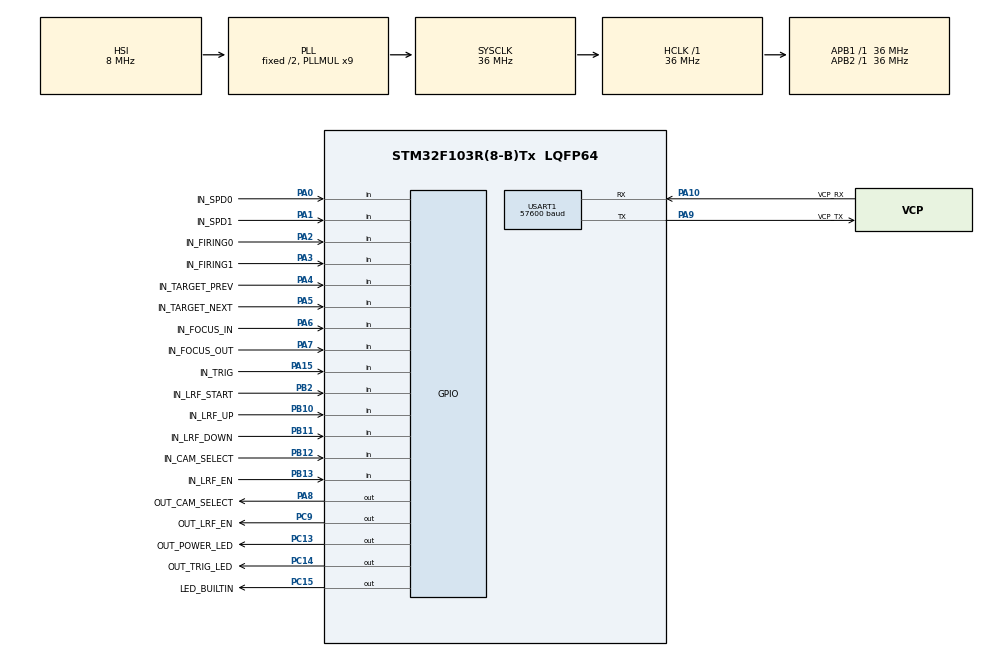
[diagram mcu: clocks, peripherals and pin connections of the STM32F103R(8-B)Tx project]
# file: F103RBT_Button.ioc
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Mcu.Family=STM32F1
Mcu.Name=STM32F103R(8-B)Tx
Mcu.Package=LQFP64
NVIC.PriorityGroup=NVIC_PRIORITYGROUP_4
NVIC.USART1_IRQn=true\:14\:0\:true\:false\:false\:true\:true
PA0-WKUP.GPIO_Label=IN_SPD0
PA0-WKUP.GPIO_Mode=GPIO_MODE_INPUT
PA0-WKUP.GPIO_PuPd=GPIO_PULLUP
PA0-WKUP.Signal=GPIO_Input
PA1.GPIO_Label=IN_SPD1
PA1.GPIO_Mode=GPIO_MODE_INPUT
PA1.GPIO_PuPd=GPIO_PULLUP
PA1.Signal=GPIO_Input
PA10.GPIO_Label=VCP_RX
PA10.GPIO_PuPd=GPIO_PULLUP
PA10.Mode=Asynchronous
PA10.Signal=USART1_RX
PA13.GPIO_Label=SWDIO
PA13.Mode=Serial_Wire
PA13.Signal=SYS_JTMS-SWDIO
PA14.GPIO_Label=SWCLK
PA14.Mode=Serial_Wire
PA14.Signal=SYS_JTCK-SWCLK
PA15.GPIO_Label=IN_TRIG
PA15.GPIO_PuPd=GPIO_PULLUP
PA15.Signal=GPIO_Input
PA2.GPIO_Label=IN_FIRING0
PA2.GPIO_PuPd=GPIO_PULLUP
PA2.Signal=GPIO_Input
PA3.GPIO_Label=IN_FIRING1
PA3.GPIO_PuPd=GPIO_PULLUP
PA3.Signal=GPIO_Input
PA4.GPIO_Label=IN_TARGET_PREV
PA4.GPIO_Mode=GPIO_MODE_INPUT
PA4.GPIO_PuPd=GPIO_PULLUP
PA4.Signal=GPIO_Input
PA5.GPIO_Label=IN_TARGET_NEXT
PA5.GPIO_Mode=GPIO_MODE_INPUT
PA5.GPIO_PuPd=GPIO_PULLUP
PA5.Signal=GPIO_Input
PA6.GPIO_Label=IN_FOCUS_IN
PA6.GPIO_Mode=GPIO_MODE_INPUT
PA6.GPIO_PuPd=GPIO_PULLUP
PA6.Signal=GPIO_Input
PA7.GPIO_Label=IN_FOCUS_OUT
PA7.GPIO_Mode=GPIO_MODE_INPUT
PA7.GPIO_PuPd=GPIO_PULLUP
PA7.Signal=GPIO_Input
PA8.GPIO_Label=OUT_CAM_SELECT
PA8.Signal=GPIO_Output
PA9.GPIO_Label=VCP_TX
PA9.Mode=Asynchronous
PA9.Signal=USART1_TX
PB10.GPIO_Label=IN_LRF_UP
PB10.GPIO_PuPd=GPIO_PULLUP
PB10.Signal=GPIO_Input
PB11.GPIO_Label=IN_LRF_DOWN
PB11.GPIO_PuPd=GPIO_PULLUP
PB11.Signal=GPIO_Input
PB12.GPIO_Label=IN_CAM_SELECT
PB12.GPIO_PuPd=GPIO_PULLUP
PB12.Signal=GPIO_Input
PB13.GPIO_Label=IN_LRF_EN
PB13.GPIO_PuPd=GPIO_PULLUP
PB13.Signal=GPIO_Input
PB2.GPIO_Label=IN_LRF_START
PB2.GPIO_PuPd=GPIO_PULLUP
PB2.Signal=GPIO_Input
PC13-TAMPER-RTC.GPIO_Label=OUT_POWER_LED
PC13-TAMPER-RTC.Signal=GPIO_Output
PC14-OSC32_IN.GPIO_Label=OUT_TRIG_LED
PC14-OSC32_IN.Signal=GPIO_Output
PC15-OSC32_OUT.GPIO_Label=LED_BUILTIN
PC15-OSC32_OUT.Signal=GPIO_Output
PC9.GPIO_Label=OUT_LRF_EN
PC9.Signal=GPIO_Output
ProjectManager.HeapSize=0x200
ProjectManager.StackSize=0x400
ProjectManager.TargetToolchain=STM32CubeIDE
RCC.AHBFreq_Value=36000000
RCC.APB1Freq_Value=36000000
RCC.APB1TimFreq_Value=36000000
RCC.APB2Freq_Value=36000000
RCC.APB2TimFreq_Value=36000000
RCC.HCLKFreq_Value=36000000
RCC.PLLMUL=RCC_PLL_MUL9
RCC.SYSCLKFreq_VALUE=36000000
RCC.SYSCLKSource=RCC_SYSCLKSOURCE_PLLCLK
RCC.USBFreq_Value=36000000
USART1.BaudRate=57600
USART1.VirtualMode=VM_ASYNC
board=custom

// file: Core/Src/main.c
/* USER CODE BEGIN Header */
/**
 ******************************************************************************
 * @file           : main.c
 * @brief          : Main program body
 ******************************************************************************
 * @attention
 *
 * <h2><center>&copy; Copyright (c) 2021 STMicroelectronics.
 * All rights reserved.</center></h2>
 *
 * This software component is licensed by ST under BSD 3-Clause license,
 * the "License"; You may not use this file except in compliance with the
 * License. You may obtain a copy of the License at:
 *                        opensource.org/licenses/BSD-3-Clause
 *
 ******************************************************************************
 */
/* USER CODE END Header */
#include "main.h"
#include "usart.h"
#include "gpio.h"

/* USER CODE BEGIN Includes */
#include <stdio.h>
#include <string.h>
#include <stdlib.h>

#include "stm_hal_serial.h"
#include "button_config.h"
/* USER CODE END Includes */

/* USER CODE BEGIN PD */
#define DEBUG_ENABLE				0

#define READ_GPIO_TIMEOUT			button_update_timeout_ms
/* USER CODE END PD */

/* USER CODE BEGIN PV */
sModeGpioInput_t input;
sModeGpioOutput_t output;

uint8_t rxPBuffer[RING_BUFFER_RX_SIZE];
uint8_t txPBuffer[RING_BUFFER_TX_SIZE];
TSerial panel;
/* USER CODE END PV */

void SystemClock_Config(void);
/* USER CODE BEGIN PFP */
static void stateInit();
static void stateRead();
static uint32_t parsingCommand(const char *str);
/* USER CODE END PFP */

int main(void)
{
	/* USER CODE BEGIN 1 */
	char inCommand[RING_BUFFER_RX_SIZE / 2];
	char buf[RING_BUFFER_TX_SIZE];
	uint16_t bufLen;
	/* USER CODE END 1 */

	/* MCU Configuration--------------------------------------------------------*/

	/* Reset of all peripherals, Initializes the Flash interface and the Systick. */
	HAL_Init();

	/* Configure the system clock */
	SystemClock_Config();

	/* Initialize all configured peripherals */
	MX_GPIO_Init();
	MX_USART1_UART_Init();
	/* USER CODE BEGIN 2 */
	serial_init(&panel, (char*) &rxPBuffer, sizeof(rxPBuffer), (char*) &txPBuffer,
			sizeof(txPBuffer), &huart1);

#if DEBUG_ENABLE==1
	bufLen = sprintf(buf, "Button - RCWS firmware!\r\n");
	serial_write_str(&panel, buf, bufLen);

	char s[32];
	sprintf(s, "$PNL,F*");
	uint16_t ret = parsingCommand(s);
	bufLen = sprintf(buf, "ret= 0x%04X\r\n", ret);
	serial_write_str(&panel, buf, bufLen);

#endif	//if DEBUG_ENABLE==1

	stateInit();
//#if DEBUG_ENABLE==1
//	HAL_GPIO_WritePin(OUT_POWER_LED_GPIO_Port, OUT_POWER_LED_Pin, GPIO_PIN_SET);
//	HAL_GPIO_WritePin(OUT_TRIG_LED_GPIO_Port, OUT_TRIG_LED_Pin, GPIO_PIN_SET);
//	HAL_GPIO_WritePin(OUT_LRF_EN_GPIO_Port, OUT_LRF_EN_Pin, GPIO_PIN_SET);
//	HAL_GPIO_WritePin(OUT_CAM_SELECT_GPIO_Port, OUT_CAM_SELECT_Pin, GPIO_PIN_SET);
//#endif	//if DEBUG_ENABLE==1

	/* USER CODE END 2 */

	/* Infinite loop */
	/* USER CODE BEGIN WHILE */
	uint32_t readTimer = 0;
	while (1) {
		uint8_t inCommandCompleted = 0;
		/* USER CODE END WHILE */

		/* USER CODE BEGIN 3 */
		if (HAL_GetTick() >= readTimer) {
			readTimer = HAL_GetTick() + READ_GPIO_TIMEOUT;

			stateRead();

#if DEBUG_ENABLE==1
			bufLen = sprintf(buf, "input= 0x%04X\r\n", *(uint16_t*) &input);
			serial_write_str(&panel, buf, bufLen);
//			HAL_GPIO_TogglePin(LED_BUILTIN_GPIO_Port, LED_BUILTIN_Pin);
#endif	//if DEBUG_ENABLE==1

			bufLen = sprintf(buf, "$BTN,%04X*\r\n", *(uint16_t*) &input);
			serial_write_str(&panel, buf, bufLen);
		}

		if (serial_available(&panel) > 0) {
			char c[2] = { 0, 0 };
			c[0] = serial_read(&panel);

			if (c[0] == '$')
				memset(inCommand, 0, RING_BUFFER_RX_SIZE / 2);
			else if (c[0] == '*')
				inCommandCompleted = 1;
			strcat(inCommand, c);
		}

		if (inCommandCompleted != 0) {
			HAL_GPIO_TogglePin(LED_BUILTIN_GPIO_Port, LED_BUILTIN_Pin);
#if DEBUG_ENABLE==1
			bufLen = sprintf(buf, "[%ld]cmd: %s\r\n", HAL_GetTick(), inCommand);
			serial_write_str(&panel, buf, bufLen);
//			serial_write_str(&panel, inCommand, strlen(inCommand));

			*(uint8_t*) &output = parsingCommand(inCommand);

			bufLen = sprintf(buf, "out: %X\r\n", *(uint8_t*) &output);
			serial_write_str(&panel, buf, bufLen);
#else
			*(uint8_t*) &output = parsingCommand(inCommand);
#endif	//if DEBUG_ENABLE==1
			HAL_GPIO_WritePin(OUT_POWER_LED_GPIO_Port, OUT_POWER_LED_Pin, output.power_state);
			HAL_GPIO_WritePin(OUT_TRIG_LED_GPIO_Port, OUT_TRIG_LED_Pin, output.trig_enable);
			HAL_GPIO_WritePin(OUT_LRF_EN_GPIO_Port, OUT_LRF_EN_Pin, output.lrf_enable);
			HAL_GPIO_WritePin(OUT_CAM_SELECT_GPIO_Port, OUT_CAM_SELECT_Pin, output.cam_select);
		}

	}
	/* USER CODE END 3 */
}

void SystemClock_Config(void)
{
	RCC_OscInitTypeDef RCC_OscInitStruct = { 0 };
	RCC_ClkInitTypeDef RCC_ClkInitStruct = { 0 };

	/** Initializes the RCC Oscillators according to the specified parameters
	 * in the RCC_OscInitTypeDef structure.
	 */
	RCC_OscInitStruct.OscillatorType = RCC_OSCILLATORTYPE_HSI;
	RCC_OscInitStruct.HSIState = RCC_HSI_ON;
	RCC_OscInitStruct.HSICalibrationValue = RCC_HSICALIBRATION_DEFAULT;
	RCC_OscInitStruct.PLL.PLLState = RCC_PLL_ON;
	RCC_OscInitStruct.PLL.PLLSource = RCC_PLLSOURCE_HSI_DIV2;
	RCC_OscInitStruct.PLL.PLLMUL = RCC_PLL_MUL9;
	if (HAL_RCC_OscConfig(&RCC_OscInitStruct) != HAL_OK) {
		Error_Handler();
	}
	/** Initializes the CPU, AHB and APB buses clocks
	 */
	RCC_ClkInitStruct.ClockType = RCC_CLOCKTYPE_HCLK | RCC_CLOCKTYPE_SYSCLK | RCC_CLOCKTYPE_PCLK1
			| RCC_CLOCKTYPE_PCLK2;
	RCC_ClkInitStruct.SYSCLKSource = RCC_SYSCLKSOURCE_PLLCLK;
	RCC_ClkInitStruct.AHBCLKDivider = RCC_SYSCLK_DIV1;
	RCC_ClkInitStruct.APB1CLKDivider = RCC_HCLK_DIV1;
	RCC_ClkInitStruct.APB2CLKDivider = RCC_HCLK_DIV1;

	if (HAL_RCC_ClockConfig(&RCC_ClkInitStruct, FLASH_LATENCY_1) != HAL_OK) {
		Error_Handler();
	}
}

/* USER CODE BEGIN 4 */
/* TODO User Functions*/
void USART1_IRQHandler(void)
{
	USARTx_IRQHandler(&panel);
}

static void stateInit()
{
	*(uint16_t*) &input = 0;
	*(uint8_t*) &output = 0;
}

static void stateRead()
{
	if (HAL_GPIO_ReadPin(IN_TRIG_GPIO_Port, IN_TRIG_Pin) == GPIO_PIN_RESET)
		input.trig_enable = TRIG_ENABLE;
	else
		input.trig_enable = TRIG_DISABLE;

	if (HAL_GPIO_ReadPin(IN_FIRING0_GPIO_Port, IN_FIRING0_Pin) == GPIO_PIN_RESET)
		input.firing_mode = FIRING_MODE_1;
	else if (HAL_GPIO_ReadPin(IN_FIRING1_GPIO_Port, IN_FIRING1_Pin) == GPIO_PIN_RESET)
		input.firing_mode = FIRING_MODE_CONT;
	else
		input.firing_mode = FIRING_MODE_3;

	if (HAL_GPIO_ReadPin(IN_CAM_SELECT_GPIO_Port, IN_CAM_SELECT_Pin) == GPIO_PIN_RESET)
		input.cam_select = CAM_SELECT_THERMAL;
	else
		input.cam_select = CAM_SELECT_DAY;

	if (HAL_GPIO_ReadPin(IN_SPD0_GPIO_Port, IN_SPD0_Pin) == GPIO_PIN_RESET)
		input.spd_select = SPD_SELECT_MIN;
	else if (HAL_GPIO_ReadPin(IN_SPD1_GPIO_Port, IN_SPD1_Pin) == GPIO_PIN_RESET)
		input.spd_select = SPD_SELECT_MAX;
	else
		input.spd_select = SPD_SELECT_MID;

	if (HAL_GPIO_ReadPin(IN_FOCUS_IN_GPIO_Port, IN_FOCUS_IN_Pin) == GPIO_PIN_RESET)
		input.focus_mode = FOCUS_IN;
	else if (HAL_GPIO_ReadPin(IN_FOCUS_OUT_GPIO_Port, IN_FOCUS_OUT_Pin) == GPIO_PIN_RESET)
		input.focus_mode = FOCUS_OUT;
	else
		input.focus_mode = FOCUS_STOP;

	if (HAL_GPIO_ReadPin(IN_LRF_EN_GPIO_Port, IN_LRF_EN_Pin) == GPIO_PIN_RESET)
		input.lrf_enable = LRF_ENABLE;
	else
		input.lrf_enable = LRF_DISABLE;

	if (HAL_GPIO_ReadPin(IN_LRF_START_GPIO_Port, IN_LRF_START_Pin) == GPIO_PIN_RESET)
		input.lrf_start = LRF_ENABLE;
	else
		input.lrf_start = LRF_DISABLE;

	if (HAL_GPIO_ReadPin(IN_LRF_UP_GPIO_Port, IN_LRF_UP_Pin) == GPIO_PIN_RESET)
		input.lrf_man_mode = LRF_MAN_UP;
	else if (HAL_GPIO_ReadPin(IN_LRF_DOWN_GPIO_Port, IN_LRF_DOWN_Pin) == GPIO_PIN_RESET)
		input.lrf_man_mode = LRF_MAN_DOWN;
	else
		input.lrf_man_mode = LRF_MAN_NONE;

	if (HAL_GPIO_ReadPin(IN_TARGET_NEXT_GPIO_Port, IN_TARGET_NEXT_Pin) == GPIO_PIN_RESET)
		input.target_select = TARGET_NEXT;
	else if (HAL_GPIO_ReadPin(IN_TARGET_PREV_GPIO_Port, IN_TARGET_PREV_Pin) == GPIO_PIN_RESET)
		input.target_select = TARGET_PREV;
	else
		input.target_select = TARGET_NONE;
}

static uint32_t parsingCommand(const char *str)
{
	uint32_t len;
	uint8_t startHeader = 0, startContent = 0;
	char hBuf[8] = { 0 }, cBuf[16] = { 0 };
	char c[2] = { 0, 0 };
	uint32_t ret = 0;

	len = strlen(str);
	for ( int i = 0; i < len; i++ ) {
		c[0] = str[i];

		if (c[0] == '*')
			break;
		if (startHeader > 0) {
			if (startContent == 0) {
				if (c[0] == ',')
					startContent = 1;
				else
					strcat(hBuf, c);
			}
			else
				strcat(cBuf, c);
		}
		else {
			if (c[0] == '$')
				startHeader = 1;
		}
	}

	int cmp = strcmp("PNL", hBuf);
	if (cmp == 0)
		ret = strtol(cBuf, NULL, 16);

	return ret;
}

/* USER CODE END 4 */

void Error_Handler(void)
{
	__disable_irq();
	while (1) {
	}
}
